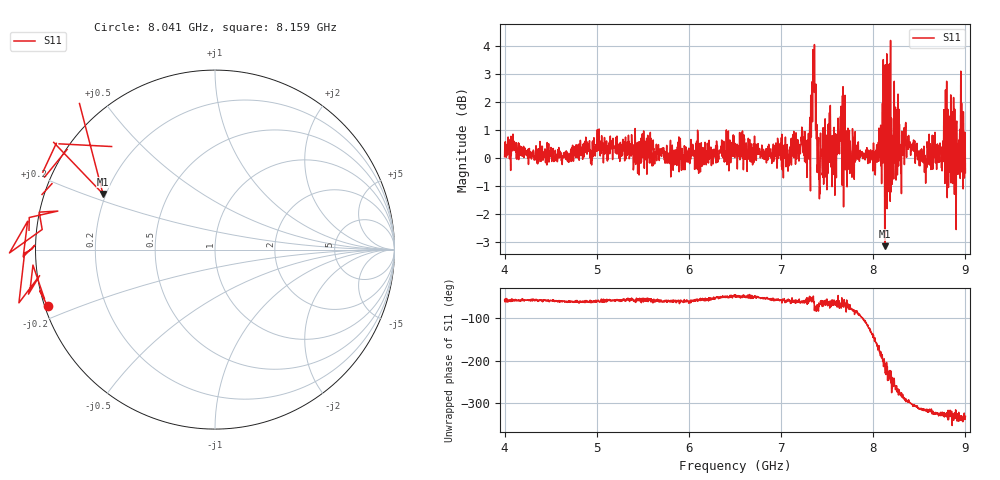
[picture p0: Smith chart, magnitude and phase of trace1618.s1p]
! Created with skrf 1.8.0 (http://scikit-rf.org).
# Hz S RI R 50.0
!freq ReS11 ImS11
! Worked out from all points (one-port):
!   1601 points, 4 GHz to 9 GHz, reference 50 ohm
!   lowest |S11| = -3.1 dB at 8.125 GHz (marker M1), VSWR 5.61, Z = 9.39 + j11.4 ohm
!   |S11| at or under -10 dB: nowhere
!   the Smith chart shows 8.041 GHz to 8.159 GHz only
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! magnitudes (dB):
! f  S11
! 4 GHz  0.1
! 4.625 GHz  -0.2
! 5.25 GHz  -0.1
! 5.875 GHz  0.4
! 6.5 GHz  0.5
! 7.125 GHz  0.8
! 7.294 GHz  0.2
! 7.356 GHz  2.4
! 7.4 GHz  0.0
! 7.416 GHz  -1.4
! 7.525 GHz  1.6
! 7.578 GHz  0.3
! 7.65 GHz  1.9
! 7.75 GHz  0.6
! 8.022 GHz  -0.6
! 8.125 GHz  -3.1
! 8.147 GHz  3.7
! 8.156 GHz  3.4
! 8.209 GHz  0.0
! 8.253 GHz  1.1
! 8.312 GHz  1.0
! 8.375 GHz  0.7
! 8.556 GHz  -0.5
! 8.725 GHz  0.5
! 8.788 GHz  -0.5
! 8.906 GHz  1.3
! 8.959 GHz  2.0
! 9 GHz  -0.5
